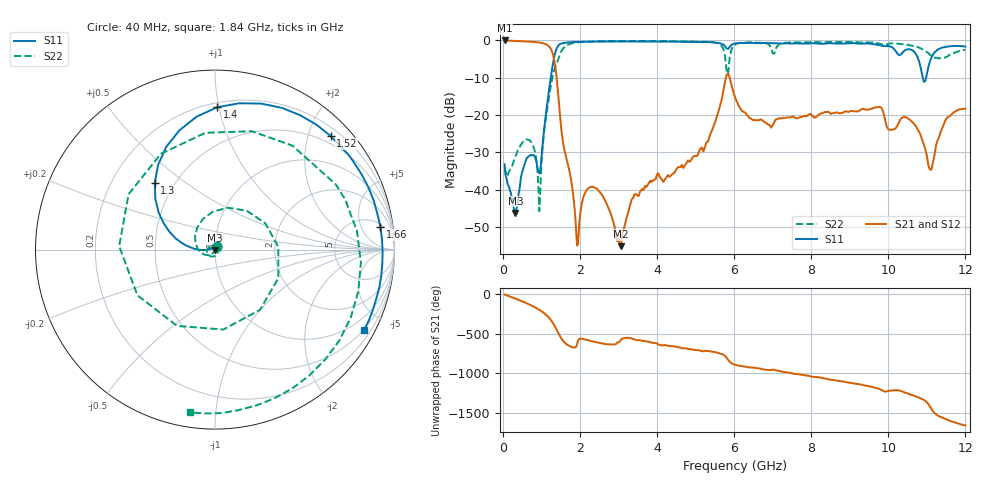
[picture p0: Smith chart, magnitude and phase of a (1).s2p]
! Mini-Circuits
! S2P DATA File Format
! Type: Low Pass LTCC Surface Mount Filter
! Model: LFCN-1000+
! Note: All S Parameters are in dB deg format
! TEST CONDITIONS: INPUT POWER = 0dBm @Temperature = +25degC
! 401 Frequency points
# MHz S DB R 50
!  FREQ  dB(S11)  PHS(S11)  dB(S21)  PHS(S21)  dB(S12)  PHS(S12)  dB(S22)  PHS(S22)
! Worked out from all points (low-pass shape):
!   401 points, 40 MHz to 12 GHz, reference 50 ohm
!   highest |S21| = -0.08 dB at 40 MHz (marker M1); lowest = -55.1 dB at 3.06 GHz (marker M2)
!   |S21| within 3 dB of the highest: start of sweep to 1.271 GHz
!   lowest |S11| = -46.2 dB at 320 MHz (marker M3), VSWR 1.01, Z = 49.9 - j0.484 ohm
!   |S11| at or under -10 dB: start of sweep to 1.238 GHz; 10.89 GHz to 10.98 GHz (86.43 MHz wide, 0.79 % of centre)
!   |S22| runs from -45.7 to -0.2 dB; largest |S21 - S12| = 0.0046
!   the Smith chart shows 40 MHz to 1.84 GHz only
!   S11 on the Smith chart (normalised r, x): 40 MHz: 1.02, +0.04; 1.3 GHz: 0.39, +0.39; 1.4 GHz: 0.23, +0.99; 1.52 GHz: 0.35, +2.40; 1.66 GHz: 6, +11; 1.84 GHz: 0.48, -3.91
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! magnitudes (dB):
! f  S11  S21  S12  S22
! 40 MHz  -33.2  -0.1  -0.1  -34.0
! 320 MHz  -46.2  -0.2  -0.2  -31.1
! 720 MHz  -30.7  -0.4  -0.4  -27.1
! 940 MHz  -35.6  -0.6  -0.6  -45.7
! 1.3 GHz  -6.0  -4.0  -4.0  -9.0
! 1.4 GHz  -2.0  -11.0  -11.0  -6.0
! 1.52 GHz  -0.9  -24.6  -24.6  -2.8
! 1.66 GHz  -0.6  -32.2  -32.2  -1.3
! 1.84 GHz  -0.5  -43.2  -43.2  -0.7
! 1.94 GHz  -0.5  -54.7  -54.6  -0.6
! 2.04 GHz  -0.4  -43.9  -43.9  -0.5
! 2.44 GHz  -0.3  -39.8  -39.7  -0.3
! 3.06 GHz  -0.3  -55.1  -55.0  -0.3
! 4.04 GHz  -0.4  -35.8  -35.7  -0.3
! 5.24 GHz  -0.5  -28.6  -28.6  -0.5
! 5.8 GHz  -2.2  -9.3  -9.3  -8.1
! 6.04 GHz  -0.9  -15.8  -15.7  -1.1
! 8.04 GHz  -0.8  -20.3  -20.2  -0.5
! 10.04 GHz  -1.7  -24.0  -24.0  -0.9
! 10.56 GHz  -2.5  -21.3  -21.3  -1.4
! 11.12 GHz  -4.6  -34.5  -34.4  -4.1
! 12 GHz  -1.7  -18.3  -18.3  -2.6
